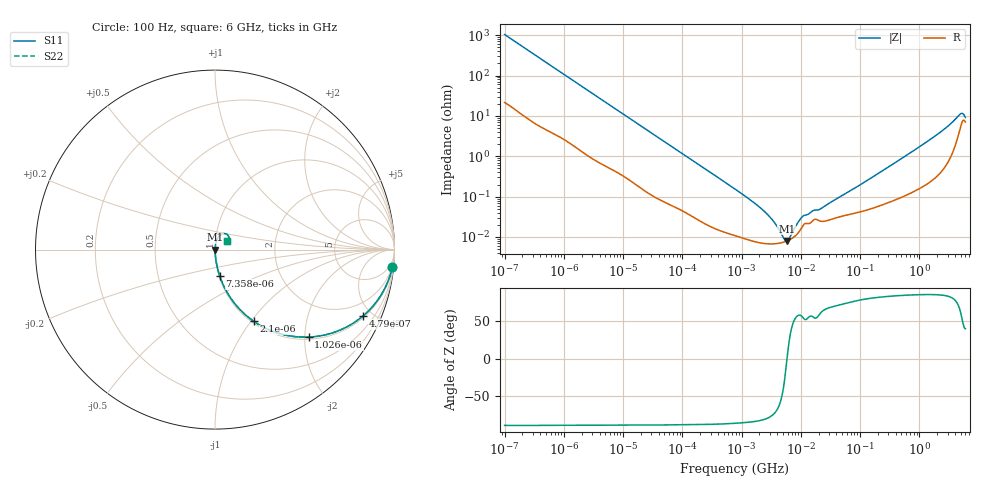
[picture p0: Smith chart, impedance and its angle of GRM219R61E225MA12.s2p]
!Murata Part Number: GRM219R61E225MA12
!These Parameters are Measured in Series Mode Connection
!Data Generated on Mar 30, 2021
!  o--ll--o
!Port1  Port2
!  o------o
!Operation Temp=25[degC], DC Bias Voltage=0[V]
!Freq. Start=100[Hz] Stop=6[GHz] 401[Steps]
# Hz S RI R 50
!Freq.(Hz) S11(Real) S11(Imag) S21(Real) S21(Imag) S12(Real) S12(Imag) S22(Real) S22(Imag)
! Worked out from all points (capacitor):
!   401 points, 100 Hz to 6 GHz, reference 50 ohm
!   read as one part in series: C = 1.52 uF near 109 Hz
!   lowest |Z| = 7.98 mohm at 5.809 MHz (marker M1)
!   series resonance near 5.854 MHz, so ESL is about 480 pH
!   S11 on the Smith chart (normalised r, x): 100 Hz: 1, -21; 479 Hz: 1.09, -4.42; 1.026 kHz: 1.05, -2.09; 2.1 kHz: 1.02, -1.03; 7.358 kHz: 1.01, -0.30; 6 GHz: 1.14, +0.12
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100  0.9889 -0.095  0.0111 0.095  0.0111 0.095  0.9889 -0.095
245  0.9447 -0.2189  0.0553 0.2189  0.0553 0.2189  0.9447 -0.2189
479  0.8249 -0.3696  0.1751 0.3696  0.1751 0.3696  0.8249 -0.3696
1026  0.5214 -0.4875  0.4786 0.4875  0.4786 0.4875  0.5214 -0.4875
2008  0.2311 -0.4096  0.7689 0.4096  0.7689 0.4096  0.2311 -0.4096
2100  0.2162 -0.3998  0.7838 0.3998  0.7838 0.3998  0.2162 -0.3998
3594  0.0902 -0.2744  0.9098 0.2744  0.9098 0.2744  0.0902 -0.2744
7358  0.026 -0.1456  0.974 0.1456  0.974 0.1456  0.026 -0.1456
40335  0.00165 -0.0282  0.9984 0.0282  0.9984 0.0282  0.00165 -0.0282
774597  0.00011 -0.00154  0.9999 0.00154  0.9999 0.00154  0.00011 -0.00154
2372521  6.95e-05 -0.00044  0.9999 0.00044  0.9999 0.00044  6.95e-05 -0.00044
3394479  6.77e-05 -0.000245  0.9999 0.000245  0.9999 0.000245  6.77e-05 -0.000245
4856642  7.3e-05 -8.09e-05  0.9999 8.09e-05  0.9999 8.09e-05  7.3e-05 -8.09e-05
5809218  7.97e-05 -3.3e-06  0.9999 3.3e-06  0.9999 3.3e-06  7.97e-05 -3.3e-06
6948629  9.08e-05 7.51e-05  0.9999 -7.51e-05  0.9999 -7.51e-05  9.08e-05 7.51e-05
1.039699e7  0.000173 0.000257  0.9998 -0.000257  0.9998 -0.000257  0.000173 0.000257
1.555665e7  0.000244 0.000362  0.9998 -0.000362  0.9998 -0.000362  0.000244 0.000362
2.225763e7  0.000244 0.000451  0.9998 -0.000451  0.9998 -0.000451  0.000244 0.000451
3.124326e8  0.000758 0.00557  0.9992 -0.00557  0.9992 -0.00557  0.000758 0.00557
1.95892e9  0.00423 0.0334  0.9958 -0.0334  0.9958 -0.0334  0.00423 0.0334
4.796499e9  0.0506 0.0893  0.9494 -0.0893  0.9494 -0.0893  0.0506 0.0893
6e9  0.0686 0.0506  0.9314 -0.0506  0.9314 -0.0506  0.0686 0.0506
